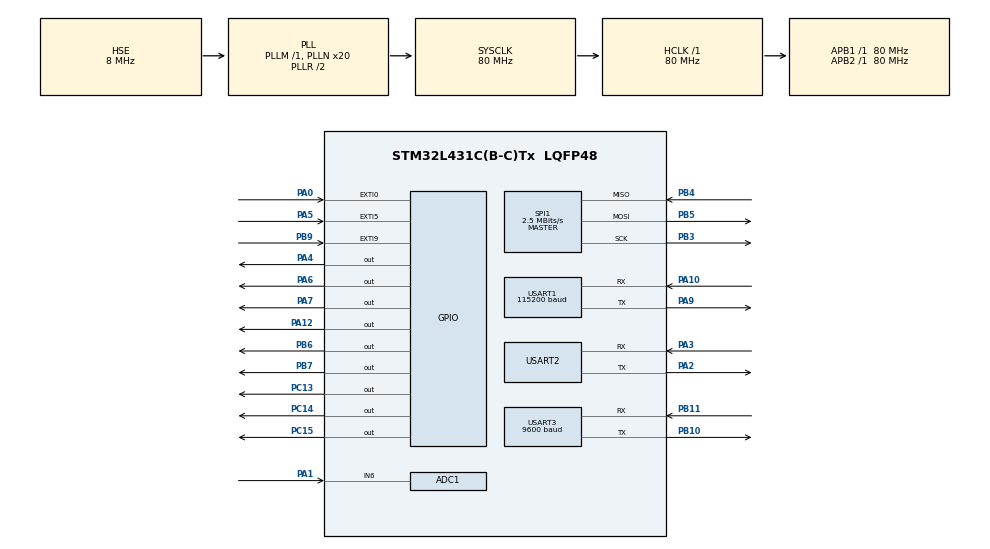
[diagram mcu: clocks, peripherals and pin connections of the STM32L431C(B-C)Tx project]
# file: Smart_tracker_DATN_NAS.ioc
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ADC1.Channel-0\#ChannelRegularConversion=ADC_CHANNEL_6
ADC1.ContinuousConvMode=ENABLE
ADC1.NbrOfConversionFlag=1
ADC1.OffsetNumber-0\#ChannelRegularConversion=ADC_OFFSET_NONE
ADC1.Overrun=ADC_OVR_DATA_OVERWRITTEN
ADC1.Rank-0\#ChannelRegularConversion=1
ADC1.SamplingTime-0\#ChannelRegularConversion=ADC_SAMPLETIME_640CYCLES_5
ADC1.master=1
Dma.ADC1.5.Direction=DMA_PERIPH_TO_MEMORY
Dma.ADC1.5.Instance=DMA1_Channel1
Dma.ADC1.5.MemDataAlignment=DMA_MDATAALIGN_HALFWORD
Dma.ADC1.5.MemInc=DMA_MINC_ENABLE
Dma.ADC1.5.Mode=DMA_NORMAL
Dma.ADC1.5.PeriphDataAlignment=DMA_PDATAALIGN_HALFWORD
Dma.ADC1.5.PeriphInc=DMA_PINC_DISABLE
Dma.ADC1.5.Priority=DMA_PRIORITY_LOW
Dma.Request0=SPI1_TX
Dma.Request1=SPI1_RX
Dma.Request2=USART3_RX
Dma.Request3=USART3_TX
Dma.Request4=USART1_RX
Dma.Request5=ADC1
Dma.Request6=USART2_RX
Dma.Request7=USART2_TX
Dma.Request8=USART1_TX
Dma.SPI1_RX.1.Direction=DMA_PERIPH_TO_MEMORY
Dma.SPI1_RX.1.Instance=DMA2_Channel3
Dma.SPI1_RX.1.MemDataAlignment=DMA_MDATAALIGN_BYTE
Dma.SPI1_RX.1.MemInc=DMA_MINC_ENABLE
Dma.SPI1_RX.1.Mode=DMA_NORMAL
Dma.SPI1_RX.1.PeriphDataAlignment=DMA_PDATAALIGN_BYTE
Dma.SPI1_RX.1.PeriphInc=DMA_PINC_DISABLE
Dma.SPI1_RX.1.Priority=DMA_PRIORITY_LOW
Dma.SPI1_TX.0.Direction=DMA_MEMORY_TO_PERIPH
Dma.SPI1_TX.0.Instance=DMA2_Channel4
Dma.SPI1_TX.0.MemDataAlignment=DMA_MDATAALIGN_BYTE
Dma.SPI1_TX.0.MemInc=DMA_MINC_ENABLE
Dma.SPI1_TX.0.Mode=DMA_NORMAL
Dma.SPI1_TX.0.PeriphDataAlignment=DMA_PDATAALIGN_BYTE
Dma.SPI1_TX.0.PeriphInc=DMA_PINC_DISABLE
Dma.SPI1_TX.0.Priority=DMA_PRIORITY_LOW
Dma.USART1_RX.4.Direction=DMA_PERIPH_TO_MEMORY
Dma.USART1_RX.4.Instance=DMA1_Channel5
Dma.USART1_RX.4.MemDataAlignment=DMA_MDATAALIGN_BYTE
Dma.USART1_RX.4.MemInc=DMA_MINC_ENABLE
Dma.USART1_RX.4.Mode=DMA_NORMAL
Dma.USART1_RX.4.PeriphDataAlignment=DMA_PDATAALIGN_BYTE
Dma.USART1_RX.4.PeriphInc=DMA_PINC_DISABLE
Dma.USART1_RX.4.Priority=DMA_PRIORITY_LOW
Dma.USART1_TX.8.Direction=DMA_MEMORY_TO_PERIPH
Dma.USART1_TX.8.Instance=DMA1_Channel4
Dma.USART1_TX.8.MemDataAlignment=DMA_MDATAALIGN_BYTE
Dma.USART1_TX.8.MemInc=DMA_MINC_ENABLE
Dma.USART1_TX.8.Mode=DMA_NORMAL
Dma.USART1_TX.8.PeriphDataAlignment=DMA_PDATAALIGN_BYTE
Dma.USART1_TX.8.PeriphInc=DMA_PINC_DISABLE
Dma.USART1_TX.8.Priority=DMA_PRIORITY_LOW
Dma.USART2_RX.6.Direction=DMA_PERIPH_TO_MEMORY
Dma.USART2_RX.6.Instance=DMA1_Channel6
Dma.USART2_RX.6.MemDataAlignment=DMA_MDATAALIGN_BYTE
Dma.USART2_RX.6.MemInc=DMA_MINC_ENABLE
Dma.USART2_RX.6.Mode=DMA_CIRCULAR
Dma.USART2_RX.6.PeriphDataAlignment=DMA_PDATAALIGN_BYTE
Dma.USART2_RX.6.PeriphInc=DMA_PINC_DISABLE
Dma.USART2_RX.6.Priority=DMA_PRIORITY_LOW
Dma.USART2_TX.7.Direction=DMA_MEMORY_TO_PERIPH
Dma.USART2_TX.7.Instance=DMA1_Channel7
Dma.USART2_TX.7.MemDataAlignment=DMA_MDATAALIGN_BYTE
Dma.USART2_TX.7.MemInc=DMA_MINC_ENABLE
Dma.USART2_TX.7.Mode=DMA_NORMAL
Dma.USART2_TX.7.PeriphDataAlignment=DMA_PDATAALIGN_BYTE
Dma.USART2_TX.7.PeriphInc=DMA_PINC_DISABLE
Dma.USART2_TX.7.Priority=DMA_PRIORITY_LOW
Dma.USART3_RX.2.Direction=DMA_PERIPH_TO_MEMORY
Dma.USART3_RX.2.Instance=DMA1_Channel3
Dma.USART3_RX.2.MemDataAlignment=DMA_MDATAALIGN_BYTE
Dma.USART3_RX.2.MemInc=DMA_MINC_ENABLE
Dma.USART3_RX.2.Mode=DMA_NORMAL
Dma.USART3_RX.2.PeriphDataAlignment=DMA_PDATAALIGN_BYTE
Dma.USART3_RX.2.PeriphInc=DMA_PINC_DISABLE
Dma.USART3_RX.2.Priority=DMA_PRIORITY_LOW
Dma.USART3_TX.3.Direction=DMA_MEMORY_TO_PERIPH
Dma.USART3_TX.3.Instance=DMA1_Channel2
Dma.USART3_TX.3.MemDataAlignment=DMA_MDATAALIGN_BYTE
Dma.USART3_TX.3.MemInc=DMA_MINC_ENABLE
Dma.USART3_TX.3.Mode=DMA_NORMAL
Dma.USART3_TX.3.PeriphDataAlignment=DMA_PDATAALIGN_BYTE
Dma.USART3_TX.3.PeriphInc=DMA_PINC_DISABLE
Dma.USART3_TX.3.Priority=DMA_PRIORITY_LOW
FREERTOS.INCLUDE_vTaskDelayUntil=1
FREERTOS.Tasks01=defaultTask,0,128,StartDefaultTask,Default,NULL,Dynamic,NULL,NULL
FREERTOS.configGENERATE_RUN_TIME_STATS=1
FREERTOS.configTOTAL_HEAP_SIZE=40000
FREERTOS.configUSE_STATS_FORMATTING_FUNCTIONS=1
FREERTOS.configUSE_TRACE_FACILITY=1
Mcu.Family=STM32L4
Mcu.Name=STM32L431C(B-C)Tx
Mcu.Package=LQFP48
NVIC.ADC1_IRQn=true\:5\:0\:false\:false\:true\:true\:true\:true\:true
NVIC.DMA1_Channel1_IRQn=true\:5\:0\:false\:false\:true\:true\:false\:true\:true
NVIC.DMA1_Channel2_IRQn=true\:5\:0\:false\:false\:true\:true\:false\:true\:true
NVIC.DMA1_Channel3_IRQn=true\:5\:0\:false\:false\:true\:true\:false\:true\:true
NVIC.DMA1_Channel4_IRQn=true\:5\:0\:false\:false\:true\:true\:false\:true\:true
NVIC.DMA1_Channel5_IRQn=true\:5\:0\:false\:false\:true\:true\:false\:true\:true
NVIC.DMA1_Channel6_IRQn=true\:5\:0\:false\:false\:true\:true\:false\:true\:true
NVIC.DMA1_Channel7_IRQn=true\:5\:0\:false\:false\:true\:true\:false\:true\:true
NVIC.DMA2_Channel3_IRQn=true\:5\:0\:false\:false\:true\:true\:false\:true\:true
NVIC.DMA2_Channel4_IRQn=true\:5\:0\:false\:false\:true\:true\:false\:true\:true
NVIC.EXTI0_IRQn=true\:5\:0\:false\:false\:true\:true\:true\:true\:true
NVIC.EXTI9_5_IRQn=true\:5\:0\:false\:false\:true\:true\:true\:true\:true
NVIC.PriorityGroup=NVIC_PRIORITYGROUP_4
NVIC.RTC_WKUP_IRQn=true\:5\:0\:false\:false\:true\:true\:true\:true\:true
NVIC.SPI1_IRQn=true\:5\:0\:false\:false\:true\:true\:true\:true\:true
NVIC.TIM7_IRQn=true\:15\:0\:false\:false\:true\:false\:false\:true\:true
NVIC.TimeBase=TIM7_IRQn
NVIC.TimeBaseIP=TIM7
NVIC.USART1_IRQn=true\:5\:0\:false\:false\:true\:true\:true\:true\:true
NVIC.USART2_IRQn=true\:5\:0\:false\:false\:true\:true\:true\:true\:true
NVIC.USART3_IRQn=true\:5\:0\:false\:false\:true\:true\:true\:true\:true
PA0.GPIO_ModeDefaultEXTI=GPIO_MODE_IT_FALLING
PA0.GPIO_PuPd=GPIO_PULLUP
PA0.Signal=GPXTI0
PA1.Signal=ADCx_IN6
PA10.Mode=Asynchronous
PA10.Signal=USART1_RX
PA12.Signal=GPIO_Output
PA13\ (JTMS-SWDIO).Mode=Serial_Wire
PA13\ (JTMS-SWDIO).Signal=SYS_JTMS-SWDIO
PA14\ (JTCK-SWCLK).Mode=Serial_Wire
PA14\ (JTCK-SWCLK).Signal=SYS_JTCK-SWCLK
PA2.Mode=Asynchronous
PA2.Signal=USART2_TX
PA3.Mode=Asynchronous
PA3.Signal=USART2_RX
PA4.Signal=GPIO_Output
PA5.GPIO_ModeDefaultEXTI=GPIO_MODE_IT_FALLING
PA5.GPIO_PuPd=GPIO_PULLUP
PA5.Signal=GPXTI5
PA6.Signal=GPIO_Output
PA7.Signal=GPIO_Output
PA9.Mode=Asynchronous
PA9.Signal=USART1_TX
PB10.Mode=Asynchronous
PB10.Signal=USART3_TX
PB11.Mode=Asynchronous
PB11.Signal=USART3_RX
PB3\ (JTDO-TRACESWO).Mode=Full_Duplex_Master
PB3\ (JTDO-TRACESWO).Signal=SPI1_SCK
PB4\ (NJTRST).Mode=Full_Duplex_Master
PB4\ (NJTRST).Signal=SPI1_MISO
PB5.Mode=Full_Duplex_Master
PB5.Signal=SPI1_MOSI
PB6.GPIO_Speed=GPIO_SPEED_FREQ_VERY_HIGH
PB6.PinState=GPIO_PIN_SET
PB6.Signal=GPIO_Output
PB7.GPIO_Speed=GPIO_SPEED_FREQ_VERY_HIGH
PB7.PinState=GPIO_PIN_SET
PB7.Signal=GPIO_Output
PB9.GPIO_ModeDefaultEXTI=GPIO_MODE_IT_FALLING
PB9.GPIO_PuPd=GPIO_PULLUP
PB9.Signal=GPXTI9
PC13.Signal=GPIO_Output
PC14-OSC32_IN\ (PC14).GPIO_PuPd=GPIO_PULLDOWN
PC14-OSC32_IN\ (PC14).Signal=GPIO_Output
PC15-OSC32_OUT\ (PC15).Signal=GPIO_Output
PH0-OSC_IN\ (PH0).Mode=HSE-External-Oscillator
PH0-OSC_IN\ (PH0).Signal=RCC_OSC_IN
PH1-OSC_OUT\ (PH1).Mode=HSE-External-Oscillator
PH1-OSC_OUT\ (PH1).Signal=RCC_OSC_OUT
ProjectManager.HeapSize=0x200
ProjectManager.StackSize=0x400
ProjectManager.TargetToolchain=MDK-ARM V5.32
RCC.ADCFreq_Value=32000000
RCC.AHBFreq_Value=80000000
RCC.APB1Freq_Value=80000000
RCC.APB1TimFreq_Value=80000000
RCC.APB2Freq_Value=80000000
RCC.APB2TimFreq_Value=80000000
RCC.CortexFreq_Value=80000000
RCC.HCLKFreq_Value=80000000
RCC.HSE_VALUE=8000000
RCC.HSI48_VALUE=48000000
RCC.HSI_VALUE=16000000
RCC.LSE_VALUE=32768
RCC.MSI_VALUE=4000000
RCC.PLLN=20
RCC.PLLSourceVirtual=RCC_PLLSOURCE_HSE
RCC.SYSCLKFreq_VALUE=80000000
RCC.SYSCLKSource=RCC_SYSCLKSOURCE_PLLCLK
RCC.VCOOutputFreq_Value=160000000
RTC.WakeUpClock-WakeUp=RTC_WAKEUPCLOCK_CK_SPRE_17BITS
RTC.WakeUpCounter-WakeUp=3599
SH.ADCx_IN6.0=ADC1_IN6,IN6-Single-Ended
SPI1.BaudRatePrescaler=SPI_BAUDRATEPRESCALER_32
SPI1.CalculateBaudRate=2.5 MBits/s
SPI1.DataSize=SPI_DATASIZE_8BIT
SPI1.Direction=SPI_DIRECTION_2LINES
SPI1.Mode=SPI_MODE_MASTER
SPI1.NSSPMode=SPI_NSS_PULSE_DISABLE
SPI1.VirtualType=VM_MASTER
USART1.BaudRate=115200
USART1.VirtualMode-Asynchronous=VM_ASYNC
USART2.VirtualMode-Asynchronous=VM_ASYNC
USART3.BaudRate=9600
USART3.VirtualMode-Asynchronous=VM_ASYNC
VP_FREERTOS_VS_CMSIS_V1.Mode=CMSIS_V1
VP_RTC_VS_RTC_Activate.Mode=RTC_Enabled
VP_RTC_VS_RTC_WakeUp_intern.Mode=WakeUp
VP_SYS_VS_tim7.Mode=TIM7
board=custom

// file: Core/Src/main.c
/* USER CODE BEGIN Header */
/**
  ******************************************************************************
  * @file           : main.c
  * @brief          : Main program body
  ******************************************************************************
  * @attention
  *
  * Copyright (c) 2026 STMicroelectronics.
  * All rights reserved.
  *
  * This software is licensed under terms that can be found in the LICENSE file
  * in the root directory of this software component.
  * If no LICENSE file comes with this software, it is provided AS-IS.
  *
  ******************************************************************************
  */
/* USER CODE END Header */
#include "main.h"
#include "cmsis_os.h"

/* USER CODE BEGIN Includes */
#include "w25q32_task.h"
#include "icm42605_task.h"
#include "atgm336h_task.h"
#include "sim_a7670c.h"
#include "bsp_spi.h"
#include "bsp_adc.h"
#include "battery_task.h"
#include "sim_task.h"
#include "system_service.h"
#include "system_manager_task.h"
#include "log.h"
#include "power_task.h"
/* USER CODE END Includes */

ADC_HandleTypeDef hadc1;
DMA_HandleTypeDef hdma_adc1;

RTC_HandleTypeDef hrtc;

SPI_HandleTypeDef hspi1;
DMA_HandleTypeDef hdma_spi1_tx;
DMA_HandleTypeDef hdma_spi1_rx;

UART_HandleTypeDef huart1;
UART_HandleTypeDef huart2;
UART_HandleTypeDef huart3;
DMA_HandleTypeDef hdma_usart1_rx;
DMA_HandleTypeDef hdma_usart1_tx;
DMA_HandleTypeDef hdma_usart2_rx;
DMA_HandleTypeDef hdma_usart2_tx;
DMA_HandleTypeDef hdma_usart3_rx;
DMA_HandleTypeDef hdma_usart3_tx;

osThreadId defaultTaskHandle;
/* USER CODE BEGIN PV */
BSP_SPI_Bus_t spi1_bus;   /* Shared SPI1 bus */
/* USER CODE END PV */

void SystemClock_Config(void);
static void MX_GPIO_Init(void);
static void MX_DMA_Init(void);
static void MX_ADC1_Init(void);
static void MX_SPI1_Init(void);
static void MX_USART1_UART_Init(void);
static void MX_USART2_UART_Init(void);
static void MX_USART3_UART_Init(void);
static void MX_RTC_Init(void);
void StartDefaultTask(void const * argument);

/* USER CODE BEGIN 0 */
void HAL_UART_TxCpltCallback(UART_HandleTypeDef *huart)
{
  if (huart->Instance == USART1) {
    BSP_UART_TxCpltCallback(&debug_uart_handle);
  }
}

void HAL_GPIO_EXTI_Callback(uint16_t GPIO_Pin)
{
    /* 2. Gửi tín hiệu thông báo cho các Task của bạn (GIỮ NGUYÊN HOÀN TOÀN) */
    if (GPIO_Pin == IMU_INT1_PIN) {
        /* INT1 (PA0) — Wake-on-Motion */
        ICM42605_Task_NotifyINT1FromISR();
    }
    else if (GPIO_Pin == IMU_INT2_PIN) {
        /* INT2 (PB9) — FIFO Watermark */
        ICM42605_Task_NotifyINT2FromISR();
    }
    else if (GPIO_Pin == GPIO_PIN_5) {
        /* RI (PA5) — Modem Ring Indicator */
        SIM_Task_NotifyRIFromISR();
    }
}

/**
 * @brief Callback xử lý ngắt định kỳ từ RTC Wakeup Timer
 */
void HAL_RTCEx_WakeUpTimerEventCallback(RTC_HandleTypeDef *hrtc)
{
    /* ?ặt nguồn đánh thức là RTC Alarm */
}

void HAL_SPI_TxRxCpltCallback(SPI_HandleTypeDef *hspi)
{
    if (hspi->Instance == SPI1) {
        BSP_SPI_TxRxCpltCallback((BSP_SPI_Handle_t *)spi1_bus.active_handle);
    }
}

void HAL_SPI_ErrorCallback(SPI_HandleTypeDef *hspi)
{
    if (hspi->Instance == SPI1) {
        BSP_SPI_ErrorCallback((BSP_SPI_Handle_t *)spi1_bus.active_handle);
    }
}

void HAL_UARTEx_RxEventCallback(UART_HandleTypeDef *huart, uint16_t Size)
{
    if (huart->Instance == USART3) {
        BSP_UART_RxEventCallback(&gps_uart_bus, Size);
    }
    else if (huart->Instance == USART2) {
        SIM_Task_UART_RxCallback(huart, Size);
    }
}

void HAL_ADC_ConvCpltCallback(ADC_HandleTypeDef* hadc)
{
    if (hadc->Instance == ADC1) {
        Battery_Task_ADC_Callback(hadc);
    }
}
/* USER CODE END 0 */

int main(void)
{

  /* MCU Configuration--------------------------------------------------------*/

  /* Reset of all peripherals, Initializes the Flash interface and the Systick. */
  HAL_Init();

  /* Configure the system clock */
  SystemClock_Config();

  /* Initialize all configured peripherals */
  MX_GPIO_Init();
  MX_DMA_Init();
  MX_ADC1_Init();
  MX_SPI1_Init();
  MX_USART1_UART_Init();
  MX_USART2_UART_Init();
  MX_USART3_UART_Init();
  MX_RTC_Init();
  /* USER CODE BEGIN 2 */
  Debug_Init();

  /* Disable the default 1-hour wakeup timer set by CubeMX in MX_RTC_Init
     to prevent it from waking the system unexpectedly. */
  HAL_RTCEx_DeactivateWakeUpTimer(&hrtc);
  __HAL_RTC_WAKEUPTIMER_CLEAR_FLAG(&hrtc, RTC_FLAG_WUTF);
  __HAL_RTC_WAKEUPTIMER_EXTI_CLEAR_FLAG();

  LOG_INFO("[MAIN] System Starting...");

  /* 1. Khởi tạo Bus dùng chung (Phải làm đầu tiên để các driver có bus để chạy) */
  BSP_SPI_Bus_Init(&spi1_bus, &hspi1);
  LOG_INFO("[MAIN] SPI1 Bus initialized (W25Q32 + ICM42605)");

  /* 2. Khởi tạo System Services */
  System_Service_Init();

  /* 3. Khởi tạo các Task (Driver & Task) */
  Log_Task_Init();
  W25Q32_Task_Init();
  ICM42605_Task_Init();
  ATGM336H_Task_Init();
  Battery_Task_Init(&hadc1, ADC_CHANNEL_6);
  SIM_Task_Init(&huart2);
  System_Manager_Task_Init();
  Power_Task_Init();

  LOG_INFO("[MAIN] All components initialized and ready");

  /* Tắt LED PC13 (SET = OFF cho active-low). LED chỉ sáng khi vào STOP Mode 2. */
  HAL_GPIO_WritePin(GPIOC, GPIO_PIN_13, GPIO_PIN_SET);

  /* USER CODE END 2 */

  /* Create the thread(s) */
  /* definition and creation of defaultTask */
  osThreadDef(defaultTask, StartDefaultTask, osPriorityNormal, 0, 128);
  defaultTaskHandle = osThreadCreate(osThread(defaultTask), NULL);

  /* USER CODE BEGIN RTOS_THREADS */
  /* add threads, ... */

  LOG_INFO("[MAIN] Tasks started and components encapsulated");
  /* USER CODE END RTOS_THREADS */

  /* Start scheduler */
  osKernelStart();

  /* We should never get here as control is now taken by the scheduler */

  /* Infinite loop */
  while (1)
  {

  }
}

void SystemClock_Config(void)
{
  RCC_OscInitTypeDef RCC_OscInitStruct = {0};
  RCC_ClkInitTypeDef RCC_ClkInitStruct = {0};

  /** Configure the main internal regulator output voltage
  */
  if (HAL_PWREx_ControlVoltageScaling(PWR_REGULATOR_VOLTAGE_SCALE1) != HAL_OK)
  {
    Error_Handler();
  }

  /** Initializes the RCC Oscillators according to the specified parameters
  * in the RCC_OscInitTypeDef structure.
  */
  RCC_OscInitStruct.OscillatorType = RCC_OSCILLATORTYPE_LSI|RCC_OSCILLATORTYPE_HSE;
  RCC_OscInitStruct.HSEState = RCC_HSE_ON;
  RCC_OscInitStruct.LSIState = RCC_LSI_ON;
  RCC_OscInitStruct.PLL.PLLState = RCC_PLL_ON;
  RCC_OscInitStruct.PLL.PLLSource = RCC_PLLSOURCE_HSE;
  RCC_OscInitStruct.PLL.PLLM = 1;
  RCC_OscInitStruct.PLL.PLLN = 20;
  RCC_OscInitStruct.PLL.PLLP = RCC_PLLP_DIV7;
  RCC_OscInitStruct.PLL.PLLQ = RCC_PLLQ_DIV2;
  RCC_OscInitStruct.PLL.PLLR = RCC_PLLR_DIV2;
  if (HAL_RCC_OscConfig(&RCC_OscInitStruct) != HAL_OK)
  {
    Error_Handler();
  }

  /** Initializes the CPU, AHB and APB buses clocks
  */
  RCC_ClkInitStruct.ClockType = RCC_CLOCKTYPE_HCLK|RCC_CLOCKTYPE_SYSCLK
                              |RCC_CLOCKTYPE_PCLK1|RCC_CLOCKTYPE_PCLK2;
  RCC_ClkInitStruct.SYSCLKSource = RCC_SYSCLKSOURCE_PLLCLK;
  RCC_ClkInitStruct.AHBCLKDivider = RCC_SYSCLK_DIV1;
  RCC_ClkInitStruct.APB1CLKDivider = RCC_HCLK_DIV1;
  RCC_ClkInitStruct.APB2CLKDivider = RCC_HCLK_DIV1;

  if (HAL_RCC_ClockConfig(&RCC_ClkInitStruct, FLASH_LATENCY_4) != HAL_OK)
  {
    Error_Handler();
  }
}

static void MX_ADC1_Init(void)
{

  ADC_ChannelConfTypeDef sConfig = {0};

  /** Common config
  */
  hadc1.Instance = ADC1;
  hadc1.Init.ClockPrescaler = ADC_CLOCK_ASYNC_DIV1;
  hadc1.Init.Resolution = ADC_RESOLUTION_12B;
  hadc1.Init.DataAlign = ADC_DATAALIGN_RIGHT;
  hadc1.Init.ScanConvMode = ADC_SCAN_DISABLE;
  hadc1.Init.EOCSelection = ADC_EOC_SINGLE_CONV;
  hadc1.Init.LowPowerAutoWait = DISABLE;
  hadc1.Init.ContinuousConvMode = ENABLE;
  hadc1.Init.NbrOfConversion = 1;
  hadc1.Init.DiscontinuousConvMode = DISABLE;
  hadc1.Init.ExternalTrigConv = ADC_SOFTWARE_START;
  hadc1.Init.ExternalTrigConvEdge = ADC_EXTERNALTRIGCONVEDGE_NONE;
  hadc1.Init.DMAContinuousRequests = DISABLE;
  hadc1.Init.Overrun = ADC_OVR_DATA_OVERWRITTEN;
  hadc1.Init.OversamplingMode = DISABLE;
  if (HAL_ADC_Init(&hadc1) != HAL_OK)
  {
    Error_Handler();
  }

  /** Configure Regular Channel
  */
  sConfig.Channel = ADC_CHANNEL_6;
  sConfig.Rank = ADC_REGULAR_RANK_1;
  sConfig.SamplingTime = ADC_SAMPLETIME_640CYCLES_5;
  sConfig.SingleDiff = ADC_SINGLE_ENDED;
  sConfig.OffsetNumber = ADC_OFFSET_NONE;
  sConfig.Offset = 0;
  if (HAL_ADC_ConfigChannel(&hadc1, &sConfig) != HAL_OK)
  {
    Error_Handler();
  }

}

static void MX_RTC_Init(void)
{

  /** Initialize RTC Only
  */
  hrtc.Instance = RTC;
  hrtc.Init.HourFormat = RTC_HOURFORMAT_24;
  hrtc.Init.AsynchPrediv = 127;
  hrtc.Init.SynchPrediv = 255;
  hrtc.Init.OutPut = RTC_OUTPUT_DISABLE;
  hrtc.Init.OutPutRemap = RTC_OUTPUT_REMAP_NONE;
  hrtc.Init.OutPutPolarity = RTC_OUTPUT_POLARITY_HIGH;
  hrtc.Init.OutPutType = RTC_OUTPUT_TYPE_OPENDRAIN;
  if (HAL_RTC_Init(&hrtc) != HAL_OK)
  {
    Error_Handler();
  }

}

static void MX_SPI1_Init(void)
{

  /* SPI1 parameter configuration*/
  hspi1.Instance = SPI1;
  hspi1.Init.Mode = SPI_MODE_MASTER;
  hspi1.Init.Direction = SPI_DIRECTION_2LINES;
  hspi1.Init.DataSize = SPI_DATASIZE_8BIT;
  hspi1.Init.CLKPolarity = SPI_POLARITY_LOW;
  hspi1.Init.CLKPhase = SPI_PHASE_1EDGE;
  hspi1.Init.NSS = SPI_NSS_SOFT;
  hspi1.Init.BaudRatePrescaler = SPI_BAUDRATEPRESCALER_32;
  hspi1.Init.FirstBit = SPI_FIRSTBIT_MSB;
  hspi1.Init.TIMode = SPI_TIMODE_DISABLE;
  hspi1.Init.CRCCalculation = SPI_CRCCALCULATION_DISABLE;
  hspi1.Init.CRCPolynomial = 7;
  hspi1.Init.CRCLength = SPI_CRC_LENGTH_DATASIZE;
  hspi1.Init.NSSPMode = SPI_NSS_PULSE_DISABLE;
  if (HAL_SPI_Init(&hspi1) != HAL_OK)
  {
    Error_Handler();
  }

}

static void MX_USART1_UART_Init(void)
{

  huart1.Instance = USART1;
  huart1.Init.BaudRate = 115200;
  huart1.Init.WordLength = UART_WORDLENGTH_8B;
  huart1.Init.StopBits = UART_STOPBITS_1;
  huart1.Init.Parity = UART_PARITY_NONE;
  huart1.Init.Mode = UART_MODE_TX_RX;
  huart1.Init.HwFlowCtl = UART_HWCONTROL_NONE;
  huart1.Init.OverSampling = UART_OVERSAMPLING_16;
  huart1.Init.OneBitSampling = UART_ONE_BIT_SAMPLE_DISABLE;
  huart1.AdvancedInit.AdvFeatureInit = UART_ADVFEATURE_NO_INIT;
  if (HAL_UART_Init(&huart1) != HAL_OK)
  {
    Error_Handler();
  }

}

static void MX_USART2_UART_Init(void)
{

  huart2.Instance = USART2;
  huart2.Init.BaudRate = 115200;
  huart2.Init.WordLength = UART_WORDLENGTH_8B;
  huart2.Init.StopBits = UART_STOPBITS_1;
  huart2.Init.Parity = UART_PARITY_NONE;
  huart2.Init.Mode = UART_MODE_TX_RX;
  huart2.Init.HwFlowCtl = UART_HWCONTROL_NONE;
  huart2.Init.OverSampling = UART_OVERSAMPLING_16;
  huart2.Init.OneBitSampling = UART_ONE_BIT_SAMPLE_DISABLE;
  huart2.AdvancedInit.AdvFeatureInit = UART_ADVFEATURE_NO_INIT;
  if (HAL_UART_Init(&huart2) != HAL_OK)
  {
    Error_Handler();
  }

}

static void MX_USART3_UART_Init(void)
{

  huart3.Instance = USART3;
  huart3.Init.BaudRate = 9600;
  huart3.Init.WordLength = UART_WORDLENGTH_8B;
  huart3.Init.StopBits = UART_STOPBITS_1;
  huart3.Init.Parity = UART_PARITY_NONE;
  huart3.Init.Mode = UART_MODE_TX_RX;
  huart3.Init.HwFlowCtl = UART_HWCONTROL_NONE;
  huart3.Init.OverSampling = UART_OVERSAMPLING_16;
  huart3.Init.OneBitSampling = UART_ONE_BIT_SAMPLE_DISABLE;
  huart3.AdvancedInit.AdvFeatureInit = UART_ADVFEATURE_NO_INIT;
  if (HAL_UART_Init(&huart3) != HAL_OK)
  {
    Error_Handler();
  }

}

static void MX_DMA_Init(void)
{

  /* DMA controller clock enable */
  __HAL_RCC_DMA2_CLK_ENABLE();
  __HAL_RCC_DMA1_CLK_ENABLE();

  /* DMA interrupt init */
  /* DMA1_Channel1_IRQn interrupt configuration */
  HAL_NVIC_SetPriority(DMA1_Channel1_IRQn, 5, 0);
  HAL_NVIC_EnableIRQ(DMA1_Channel1_IRQn);
  /* DMA1_Channel2_IRQn interrupt configuration */
  HAL_NVIC_SetPriority(DMA1_Channel2_IRQn, 5, 0);
  HAL_NVIC_EnableIRQ(DMA1_Channel2_IRQn);
  /* DMA1_Channel3_IRQn interrupt configuration */
  HAL_NVIC_SetPriority(DMA1_Channel3_IRQn, 5, 0);
  HAL_NVIC_EnableIRQ(DMA1_Channel3_IRQn);
  /* DMA1_Channel4_IRQn interrupt configuration */
  HAL_NVIC_SetPriority(DMA1_Channel4_IRQn, 5, 0);
  HAL_NVIC_EnableIRQ(DMA1_Channel4_IRQn);
  /* DMA1_Channel5_IRQn interrupt configuration */
  HAL_NVIC_SetPriority(DMA1_Channel5_IRQn, 5, 0);
  HAL_NVIC_EnableIRQ(DMA1_Channel5_IRQn);
  /* DMA1_Channel6_IRQn interrupt configuration */
  HAL_NVIC_SetPriority(DMA1_Channel6_IRQn, 5, 0);
  HAL_NVIC_EnableIRQ(DMA1_Channel6_IRQn);
  /* DMA1_Channel7_IRQn interrupt configuration */
  HAL_NVIC_SetPriority(DMA1_Channel7_IRQn, 5, 0);
  HAL_NVIC_EnableIRQ(DMA1_Channel7_IRQn);
  /* DMA2_Channel3_IRQn interrupt configuration */
  HAL_NVIC_SetPriority(DMA2_Channel3_IRQn, 5, 0);
  HAL_NVIC_EnableIRQ(DMA2_Channel3_IRQn);
  /* DMA2_Channel4_IRQn interrupt configuration */
  HAL_NVIC_SetPriority(DMA2_Channel4_IRQn, 5, 0);
  HAL_NVIC_EnableIRQ(DMA2_Channel4_IRQn);

}

static void MX_GPIO_Init(void)
{
  GPIO_InitTypeDef GPIO_InitStruct = {0};

  /* GPIO Ports Clock Enable */
  __HAL_RCC_GPIOC_CLK_ENABLE();
  __HAL_RCC_GPIOH_CLK_ENABLE();
  __HAL_RCC_GPIOA_CLK_ENABLE();
  __HAL_RCC_GPIOB_CLK_ENABLE();

  /*Configure GPIO pin Output Level */
  HAL_GPIO_WritePin(GPIOC, GPIO_PIN_13|GPIO_PIN_14|GPIO_PIN_15, GPIO_PIN_RESET);

  /*Configure GPIO pin Output Level */
  HAL_GPIO_WritePin(GPIOA, GPIO_PIN_4|GPIO_PIN_6|GPIO_PIN_7|GPIO_PIN_12, GPIO_PIN_RESET);

  /*Configure GPIO pin Output Level */
  HAL_GPIO_WritePin(GPIOB, GPIO_PIN_6|GPIO_PIN_7, GPIO_PIN_SET);

  /*Configure GPIO pins : PC13 PC15 */
  GPIO_InitStruct.Pin = GPIO_PIN_13|GPIO_PIN_15;
  GPIO_InitStruct.Mode = GPIO_MODE_OUTPUT_PP;
  GPIO_InitStruct.Pull = GPIO_NOPULL;
  GPIO_InitStruct.Speed = GPIO_SPEED_FREQ_LOW;
  HAL_GPIO_Init(GPIOC, &GPIO_InitStruct);

  /*Configure GPIO pin : PC14 */
  GPIO_InitStruct.Pin = GPIO_PIN_14;
  GPIO_InitStruct.Mode = GPIO_MODE_OUTPUT_PP;
  GPIO_InitStruct.Pull = GPIO_PULLDOWN;
  GPIO_InitStruct.Speed = GPIO_SPEED_FREQ_LOW;
  HAL_GPIO_Init(GPIOC, &GPIO_InitStruct);

  /*Configure GPIO pins : PA0 PA5 */
  GPIO_InitStruct.Pin = GPIO_PIN_0|GPIO_PIN_5;
  GPIO_InitStruct.Mode = GPIO_MODE_IT_FALLING;
  GPIO_InitStruct.Pull = GPIO_PULLUP;
  HAL_GPIO_Init(GPIOA, &GPIO_InitStruct);

  /*Configure GPIO pins : PA4 PA6 PA7 PA12 */
  GPIO_InitStruct.Pin = GPIO_PIN_4|GPIO_PIN_6|GPIO_PIN_7|GPIO_PIN_12;
  GPIO_InitStruct.Mode = GPIO_MODE_OUTPUT_PP;
  GPIO_InitStruct.Pull = GPIO_NOPULL;
  GPIO_InitStruct.Speed = GPIO_SPEED_FREQ_LOW;
  HAL_GPIO_Init(GPIOA, &GPIO_InitStruct);

  /*Configure GPIO pins : PB6 PB7 */
  GPIO_InitStruct.Pin = GPIO_PIN_6|GPIO_PIN_7;
  GPIO_InitStruct.Mode = GPIO_MODE_OUTPUT_PP;
  GPIO_InitStruct.Pull = GPIO_NOPULL;
  GPIO_InitStruct.Speed = GPIO_SPEED_FREQ_VERY_HIGH;
  HAL_GPIO_Init(GPIOB, &GPIO_InitStruct);

  /*Configure GPIO pin : PB9 */
  GPIO_InitStruct.Pin = GPIO_PIN_9;
  GPIO_InitStruct.Mode = GPIO_MODE_IT_FALLING;
  GPIO_InitStruct.Pull = GPIO_PULLUP;
  HAL_GPIO_Init(GPIOB, &GPIO_InitStruct);

  /* EXTI interrupt init*/
  HAL_NVIC_SetPriority(EXTI0_IRQn, 5, 0);
  HAL_NVIC_EnableIRQ(EXTI0_IRQn);

  HAL_NVIC_SetPriority(EXTI9_5_IRQn, 5, 0);
  HAL_NVIC_EnableIRQ(EXTI9_5_IRQn);

}

void StartDefaultTask(void const * argument)
{
  /* USER CODE BEGIN 5 */
  /* Infinite loop */
  // Sau khi xong việc thì TỰ HỦY (Terminate) task này và thoát
  osThreadTerminate(NULL);
  for(;;)
  {
    osDelay(1000);
  }
  /* USER CODE END 5 */
}

void HAL_TIM_PeriodElapsedCallback(TIM_HandleTypeDef *htim)
{
  if (htim->Instance == TIM7)
  {
    HAL_IncTick();
  }
}

void Error_Handler(void)
{
  __disable_irq();
  while (1)
  {
  }
}

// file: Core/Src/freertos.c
/* USER CODE BEGIN Header */
/**
  ******************************************************************************
  * File Name          : freertos.c
  * Description        : Code for freertos applications
  ******************************************************************************
  * @attention
  *
  * Copyright (c) 2026 STMicroelectronics.
  * All rights reserved.
  *
  * This software is licensed under terms that can be found in the LICENSE file
  * in the root directory of this software component.
  * If no LICENSE file comes with this software, it is provided AS-IS.
  *
  ******************************************************************************
  */
/* USER CODE END Header */

#include "FreeRTOS.h"
#include "task.h"
#include "main.h"

/* GetIdleTaskMemory prototype (linked to static allocation support) */
void vApplicationGetIdleTaskMemory( StaticTask_t **ppxIdleTaskTCBBuffer, StackType_t **ppxIdleTaskStackBuffer, uint32_t *pulIdleTaskStackSize );

/* Hook prototypes */
void configureTimerForRunTimeStats(void);
unsigned long getRunTimeCounterValue(void);

/* USER CODE BEGIN 1 */
/* Functions needed when configGENERATE_RUN_TIME_STATS is on */
__weak void configureTimerForRunTimeStats(void)
{

}

__weak unsigned long getRunTimeCounterValue(void)
{
return 0;
}
/* USER CODE END 1 */

/* USER CODE BEGIN GET_IDLE_TASK_MEMORY */
static StaticTask_t xIdleTaskTCBBuffer;
static StackType_t xIdleStack[configMINIMAL_STACK_SIZE];

void vApplicationGetIdleTaskMemory( StaticTask_t **ppxIdleTaskTCBBuffer, StackType_t **ppxIdleTaskStackBuffer, uint32_t *pulIdleTaskStackSize )
{
  *ppxIdleTaskTCBBuffer = &xIdleTaskTCBBuffer;
  *ppxIdleTaskStackBuffer = &xIdleStack[0];
  *pulIdleTaskStackSize = configMINIMAL_STACK_SIZE;
  /* place for user code */
}
/* USER CODE END GET_IDLE_TASK_MEMORY */
